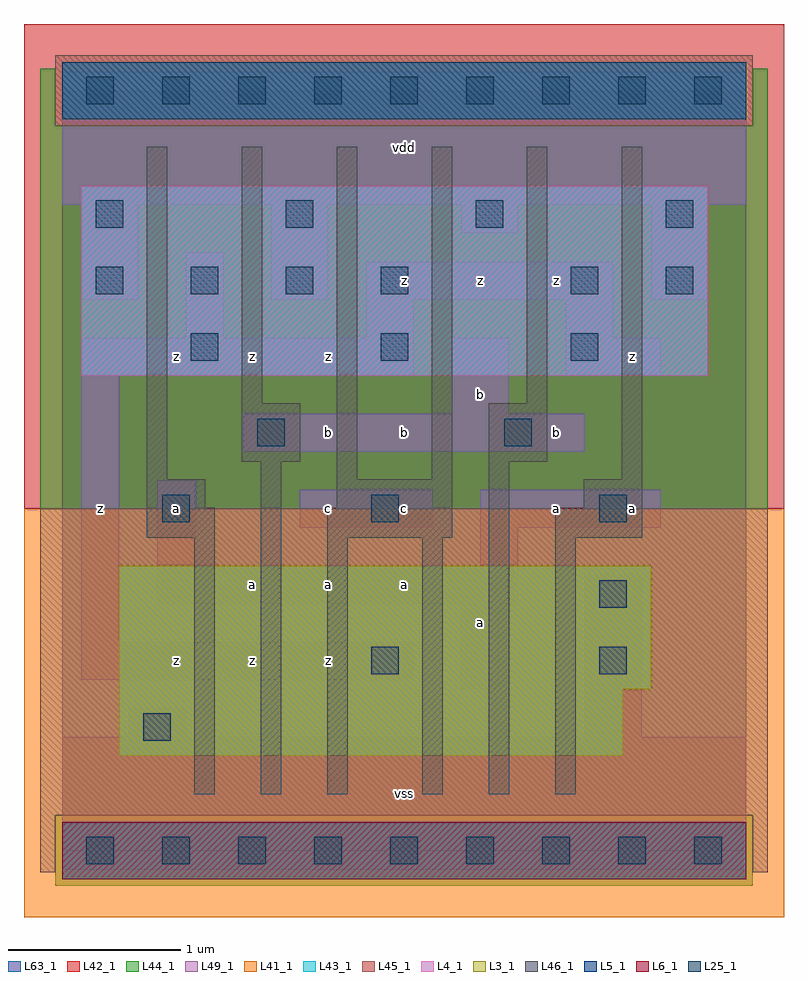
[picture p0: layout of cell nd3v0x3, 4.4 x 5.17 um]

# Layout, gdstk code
import gdstk
lib = gdstk.Library(unit=1e-6, precision=1e-09)
def R(c, l, rs):  # rectangles x0, y0, x1, y1
    for r in rs: c.add(gdstk.rectangle(r[:2], r[2:], *l))
def A(c, l, x, y, w, h, nx, ny, dx, dy):  # array of equal rectangles
    R(c, l, [(x+i*dx, y+j*dy, x+i*dx+w, y+j*dy+h) for i in range(nx) for j in range(ny)])
L3_1 = (3, 1)
L4_1 = (4, 1)
L5_1 = (5, 1)
L6_1 = (6, 1)
L25_1 = (25, 1)
L41_1 = (41, 1)
L42_1 = (42, 1)
L43_1 = (43, 1)
L44_1 = (44, 1)
L45_1 = (45, 1)
L46_1 = (46, 1)
L49_1 = (49, 1)
L63_1 = (63, 1)

nd3v0x3 = lib.new_cell('nd3v0x3')
R(nd3v0x3, L3_1, [(0.33,0.55,3.245,0.935), (0.33,0.935,3.41,1.65)])
R(nd3v0x3, L4_1, [(0.11,2.75,3.74,3.85)])
R(nd3v0x3, L5_1, [(0,4.235,3.96,4.565)])
R(nd3v0x3, L6_1, [(0,-0.165,3.96,0.165)])
A(nd3v0x3, L25_1, 0.14, -0.08, 0.16, 0.16, 9, 2, 0.44, 4.4)
A(nd3v0x3, L25_1, 0.745, 2.835, 0.16, 0.16, 3, 1, 1.1, 0)
A(nd3v0x3, L25_1, 0.195, 3.22, 0.16, 0.16, 4, 1, 0.55, 0)
A(nd3v0x3, L25_1, 0.195, 3.605, 0.16, 0.16, 4, 1, 1.1, 0)
R(nd3v0x3, L25_1, [(0.47,0.635,0.63,0.795), (1.79,1.02,1.95,1.18), (3.11,1.02,3.27,1.18), (3.11,1.405,3.27,1.565), (0.58,1.9,0.74,2.06), (1.79,1.9,1.95,2.06), (3.11,1.9,3.27,2.06), (1.13,2.34,1.29,2.5), (2.56,2.34,2.72,2.5), (2.945,3.22,3.105,3.38), (3.495,3.22,3.655,3.38)])
R(nd3v0x3, L41_1, [(-0.22,-0.385,4.18,1.98)])
R(nd3v0x3, L42_1, [(-0.22,1.98,4.18,4.785)])
R(nd3v0x3, L43_1, [(0,-0.165,3.96,0.165), (0.33,0.55,3.245,0.935), (0.33,0.935,3.41,1.65), (0.11,2.75,3.74,3.85), (0,4.235,3.96,4.565)])
R(nd3v0x3, L44_1, [(-0.04,-0.205,4,0.205), (-0.125,1.98,4.085,4.195), (-0.125,4.195,-0.04,4.525), (4,4.195,4.085,4.525)])
R(nd3v0x3, L45_1, [(-0.125,-0.125,-0.04,0.205), (4,-0.125,4.085,0.205), (-0.125,0.205,4.085,1.98), (-0.04,4.195,4,4.605)])
R(nd3v0x3, L46_1, [(0.765,0.325,0.885,1.81), (1.15,0.325,1.27,2.25), (1.535,0.325,1.655,1.81), (2.085,0.325,2.205,1.81), (2.47,0.325,2.59,2.25), (2.855,0.325,2.975,1.81), (0.49,1.81,0.885,1.985), (1.535,1.81,2.26,1.985), (2.855,1.81,3.36,1.985), (0.49,1.985,0.83,2.15), (1.59,1.985,2.26,2.15), (3.02,1.985,3.36,2.15), (0.49,2.15,0.61,4.075), (1.59,2.15,1.71,4.075), (2.14,2.15,2.26,4.075), (3.24,2.15,3.36,4.075), (1.04,2.25,1.38,2.59), (2.47,2.25,2.81,2.59), (1.04,2.59,1.16,4.075), (2.69,2.59,2.81,4.075)])
R(nd3v0x3, L49_1, [(0,-0.11,3.96,0.66), (0.385,0.66,0.715,0.825), (3.025,0.66,3.355,1.595), (2.31,0.935,2.53,1.43), (0.11,0.99,2.035,1.21), (0.11,1.21,0.33,2.75), (0.55,1.43,2.64,1.65), (0.55,1.65,0.77,2.145), (2.42,1.65,2.64,1.87), (1.375,1.87,2.145,2.09), (2.42,1.87,3.465,2.09), (1.045,2.31,3.025,2.53), (2.255,2.53,2.585,2.97), (0.11,2.75,2.035,2.97), (2.915,2.75,3.465,2.97), (0.715,2.97,0.935,3.465), (1.76,2.97,2.035,3.19), (2.915,2.97,3.19,3.19), (0.11,3.19,0.44,3.74), (1.21,3.19,1.54,3.74), (1.76,3.19,3.19,3.41), (3.41,3.19,3.74,3.74), (2.31,3.575,2.64,3.74), (0,3.74,3.96,4.51)])
R(nd3v0x3, L63_1, [(0,0,3.96,4.4)])
nd3v0x3.add(gdstk.Label('z', (0.22,1.98), layer=49, texttype=1))
nd3v0x3.add(gdstk.Label('z', (0.66,1.1), layer=49, texttype=1))
nd3v0x3.add(gdstk.Label('z', (1.1,1.1), layer=49, texttype=1))
nd3v0x3.add(gdstk.Label('a', (1.1,1.54), layer=49, texttype=1))
nd3v0x3.add(gdstk.Label('a', (0.66,1.98), layer=49, texttype=1))
nd3v0x3.add(gdstk.Label('z', (1.1,2.86), layer=49, texttype=1))
nd3v0x3.add(gdstk.Label('z', (0.66,2.86), layer=49, texttype=1))
nd3v0x3.add(gdstk.Label('vss', (1.98,0.33), layer=49, texttype=1))
nd3v0x3.add(gdstk.Label('z', (1.54,1.1), layer=49, texttype=1))
nd3v0x3.add(gdstk.Label('a', (1.54,1.54), layer=49, texttype=1))
nd3v0x3.add(gdstk.Label('a', (1.98,1.54), layer=49, texttype=1))
nd3v0x3.add(gdstk.Label('c', (1.54,1.98), layer=49, texttype=1))
nd3v0x3.add(gdstk.Label('b', (1.54,2.42), layer=49, texttype=1))
nd3v0x3.add(gdstk.Label('c', (1.98,1.98), layer=49, texttype=1))
nd3v0x3.add(gdstk.Label('b', (1.98,2.42), layer=49, texttype=1))
nd3v0x3.add(gdstk.Label('z', (1.54,2.86), layer=49, texttype=1))
nd3v0x3.add(gdstk.Label('z', (1.98,3.3), layer=49, texttype=1))
nd3v0x3.add(gdstk.Label('vdd', (1.98,4.07), layer=49, texttype=1))
nd3v0x3.add(gdstk.Label('a', (2.42,1.32), layer=49, texttype=1))
nd3v0x3.add(gdstk.Label('a', (2.86,1.98), layer=49, texttype=1))
nd3v0x3.add(gdstk.Label('b', (2.86,2.42), layer=49, texttype=1))
nd3v0x3.add(gdstk.Label('b', (2.42,2.64), layer=49, texttype=1))
nd3v0x3.add(gdstk.Label('z', (2.42,3.3), layer=49, texttype=1))
nd3v0x3.add(gdstk.Label('z', (2.86,3.3), layer=49, texttype=1))
nd3v0x3.add(gdstk.Label('a', (3.3,1.98), layer=49, texttype=1))
nd3v0x3.add(gdstk.Label('z', (3.3,2.86), layer=49, texttype=1))

lib.write_gds('nd3v0x3.gds')
